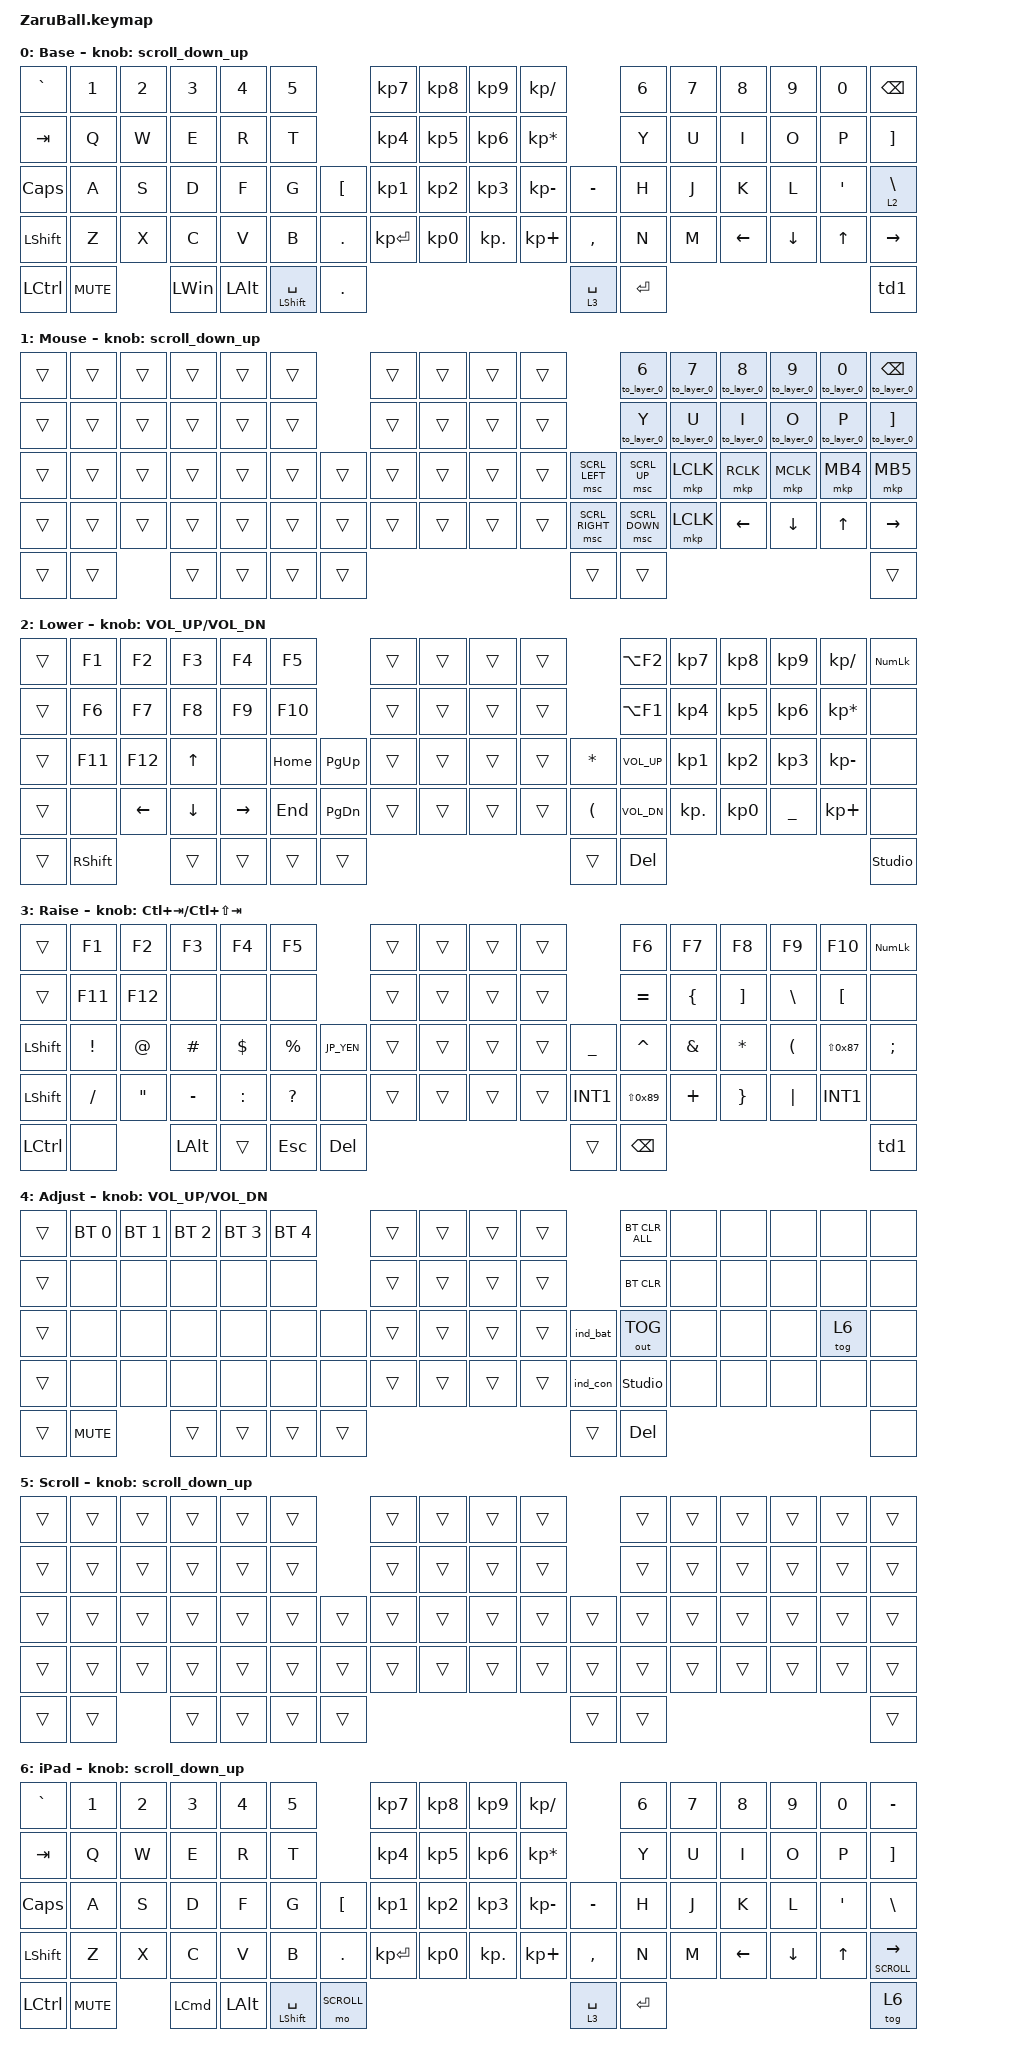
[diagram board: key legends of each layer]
//#include <dt-bindings/zmk/mouse.h>

#include <behaviors/rgbled_widget.dtsi>
#include <input/processors.dtsi>
#include <dt-bindings/zmk/input_transform.h>
#include <behaviors.dtsi>
#include <dt-bindings/zmk/bt.h>
#include <dt-bindings/zmk/keys.h>
#include <dt-bindings/zmk/outputs.h>
#include <dt-bindings/zmk/pointing.h>

#define BASE     0
#define MOUSE    1
#define LOWER    2
#define RAISE    3
#define ADJUST   4
#define SCROLL   5
#define IPAD     6

// OS設定を日本語キーボードのまま使用するための変換定義

#define JP_DQUOTE       AT                // "
#define JP_AMPERSAND    CARET             // &
#define JP_QUOTE        AMPERSAND         // '
#define JP_EQUAL        UNDER             // =
#define JP_CARET        EQUAL             // ^
#define JP_YEN          0x89              // ¥
#define JP_PLUS         COLON             // +
#define JP_TILDE        PLUS              // ~
#define JP_PIPE         LS(0x89)          // |
#define JP_AT           LEFT_BRACKET      // @
#define JP_COLON        SINGLE_QUOTE      // :
#define JP_ASTERISK     DOUBLE_QUOTES     // *
#define JP_BACKQUOTE    LEFT_BRACE        // `
#define JP_UNDERSCORE   LS(0x87)          // _
#define JP_LBRACKET     RIGHT_BRACKET     // [
#define JP_RBRACKET     BACKSLASH         // ]
#define JP_LPAREN       ASTERISK          // (
#define JP_RPAREN       LEFT_PARENTHESIS  // )
#define JP_LBRACE       RIGHT_BRACE       // {
#define JP_RBRACE       PIPE              // }
#define JP_KANA         LANGUAGE_1        // かな
#define JP_EISU         LANGUAGE_2        // 英数
#define JP_HANZEN       GRAVE             // 半角/全角

// スクロール量の設定
&zip_temp_layer {
    require-prior-idle-ms = <200>; // キー入力後200msはマウスへの切り替えを無効化
};

// #define ZMK_POINTING_DEFAULT_SCRL_VAL 100  // 既にpointing.hで定義済み
&trackball_listener {
    input-processors = <
                         &zip_xy_transform (INPUT_TRANSFORM_XY_SWAP | INPUT_TRANSFORM_Y_INVERT | INPUT_TRANSFORM_X_INVERT)
                         &zip_temp_layer MOUSE 500
    >;

    scroller {
        layers = <SCROLL>;
        input-processors = <
                            &zip_xy_transform (INPUT_TRANSFORM_XY_SWAP | INPUT_TRANSFORM_X_INVERT)
                            &zip_xy_scaler 1 20
                            &zip_xy_to_scroll_mapper
        >;
    };
};

/ {
    conditional_layers {
        compatible = "zmk,conditional-layers";

        tri_layer {
            if-layers = <2 3>;
            then-layer = <4>;
        };
    };
};

/ {
    behaviors {
        // スクロール用のbehaviorの設定

        scroll_down_up: behavior_sensor_rotate_mouse_wheel_down_up {
            compatible = "zmk,behavior-sensor-rotate";
            #sensor-binding-cells = <0>;
            // At 100 units/s, the 16ms mouse tick emits at least one wheel unit.
            // Default SCRL_DOWN/UP use 10 units/s: a 20ms tap is rounded to zero.
            bindings = <&msc MOVE_Y(-100)>, <&msc MOVE_Y(100)>;

            tap-ms = <20>; // スクロールのタップ時間
        };

        td0: tap_dance_0 {
            compatible = "zmk,behavior-tap-dance";
            #binding-cells = <0>;
            tapping-term-ms = <200>;
            bindings = <&mt LALT LANG2>, <&mo RAISE>, <&mo MOUSE>;
        };

        td1: tap_dance_1 {
            compatible = "zmk,behavior-tap-dance";
            #binding-cells = <0>;
            tapping-term-ms = <200>;
            bindings = <&mt RCTL LANG1>, <&mo RAISE>, <&mo MOUSE>;
        };

        // Customed Hold-Tap for SandS

        SandS: SandS {
            compatible = "zmk,behavior-hold-tap";
            #binding-cells = <2>;
            flavor = "tap-unless-interrupted";
            tapping-term-ms = <500>;
            quick-tap-ms = <500>;
            bindings = <&kp>, <&kp>;

            display-name = "SandS";
        };
    };
};

&sl { release-after-ms = <250>; }; // time needed for double click (for mkp_exit_AML)
/ {
    macros {
        // When in AML, move to default layer when key (except mouse button) pressed

        to_layer_0: to_layer_0 {
            compatible = "zmk,behavior-macro-one-param";
            #binding-cells = <1>;
            bindings = <&tog MOUSE &macro_param_1to1 &kp MACRO_PLACEHOLDER>;
            label = "TO_layer_0";
        };

        // When LCLK pressed, exit AML (after 250ms cause by sticky layer

        mkp_exit_AML: mkp_exit_AML {
            compatible = "zmk,behavior-macro-one-param";
            #binding-cells = <1>;
            bindings =
                <&macro_press>,
                <&macro_param_1to1 &mkp MACRO_PLACEHOLDER>,
                <&macro_pause_for_release>,
                <&macro_release>,
                <&macro_param_1to1 &mkp MACRO_PLACEHOLDER>,
                <&macro_tap>,
                <&sl MOUSE>;

            label = "MKP_EXIT_AML";
        };
    };
};

/ {
    combos {
        compatible = "zmk,combos";

        // S + D = Escape

        combo_esc {
            timeout-ms = <100>;
            key-positions = <34 35>;
            bindings = <&kp ESC>;
            layers = <0 6>;
        };

        // K + L = Backspace

        combo_bspc {
            timeout-ms = <100>;
            key-positions = <46 47>;
            bindings = <&kp BSPC>;
            layers = <0 1 6>;
        };

        // H + J = Enter

        combo_enter {
            timeout-ms = <100>;
            key-positions = <44 45>;
            bindings = <&kp ENTER>;
            layers = <0 6>;
        };

        // N + M = , (カンマ) 

        combo_comma {
            timeout-ms = <100>;
            key-positions = <62 63>;
            bindings = <&kp COMMA>;
            layers = <0 6>;
        };

        // M + LEFT_ARROW(Mの右) = . (ドット) 

        combo_dot {
            timeout-ms = <100>;
            key-positions = <63 64>;
            bindings = <&kp DOT>;
            layers = <0 6>;
        };
    };
};

/ {
    keymap {
        compatible = "zmk,keymap";

        base_layer {
            display-name = "Base";
            sensor-bindings = <&scroll_down_up>;
            bindings = <
&kp JP_HANZEN  &kp N1      &kp N2  &kp N3    &kp N4        &kp N5                           &kp KP_N7     &kp KP_N8  &kp KP_N9   &kp KP_DIVIDE                   &kp NUMBER_6  &kp N7  &kp N8          &kp N9          &kp N0        &kp BACKSPACE
&kp TAB        &kp Q       &kp W   &kp E     &kp R         &kp T                            &kp KP_N4     &kp KP_N5  &kp KP_N6   &kp KP_MULTIPLY                 &kp Y         &kp U   &kp I           &kp O           &kp P         &kp JP_LBRACKET
&kp CAPS       &kp A       &kp S   &kp D     &kp F         &kp G               &kp JP_AT    &kp KP_N1     &kp KP_N2  &kp KP_N3   &kp KP_MINUS       &kp MINUS    &kp H         &kp J   &kp K           &kp L           &kp JP_COLON  &lt 2 JP_RBRACKET
&kp LSHFT      &kp Z       &kp X   &kp C     &kp V         &kp B               &kp DOT      &kp KP_ENTER  &kp KP_N0  &kp KP_DOT  &kp KP_PLUS        &kp COMMA    &kp N         &kp M   &kp LEFT_ARROW  &kp DOWN_ARROW  &kp UP_ARROW  &kp RIGHT_ARROW
&kp LCTRL      &kp C_MUTE          &kp LWIN  &kp LEFT_ALT  &SandS LSHFT SPACE  &kp DOT                                                              &lt 3 SPACE  &kp ENTER                                                           &td1
            >;
        };

        mouse_layer {
            display-name = "Mouse";
            sensor-bindings = <&scroll_down_up>;
            bindings = <
&trans  &trans  &trans  &trans  &trans  &trans            &trans  &trans  &trans  &trans                     &to_layer_0 N6  &to_layer_0 N7  &to_layer_0 N8  &to_layer_0 N9  &to_layer_0 N0  &to_layer_0 BACKSPACE
&trans  &trans  &trans  &trans  &trans  &trans            &trans  &trans  &trans  &trans                     &to_layer_0 Y   &to_layer_0 U   &to_layer_0 I   &to_layer_0 O   &to_layer_0 P   &to_layer_0 JP_LBRACKET
&trans  &trans  &trans  &trans  &trans  &trans  &trans    &trans  &trans  &trans  &trans    &msc SCRL_LEFT   &msc SCRL_UP    &mkp LCLK       &mkp RCLK       &mkp MCLK       &mkp MB4        &mkp MB5
&trans  &trans  &trans  &trans  &trans  &trans  &trans    &trans  &trans  &trans  &trans    &msc SCRL_RIGHT  &msc SCRL_DOWN  &mkp LCLK       &kp LEFT_ARROW  &kp DOWN_ARROW  &kp UP_ARROW    &kp RIGHT_ARROW
&trans  &trans          &trans  &trans  &trans  &trans                                      &trans           &trans                                                                          &trans
            >;
        };

        lower_layer {
            display-name = "Lower";
            sensor-bindings = <&inc_dec_kp C_VOL_UP C_VOL_DN>;
            bindings = <
&trans  &kp F1     &kp F2    &kp F3    &kp F4     &kp F5                 &trans  &trans  &trans  &trans                   &kp LA(F2)    &kp KP_N7   &kp KP_N8  &kp KP_N9     &kp KP_SLASH     &kp KP_NUMLOCK
&trans  &kp F6     &kp F7    &kp F8    &kp F9     &kp F10                &trans  &trans  &trans  &trans                   &kp LA(F1)    &kp KP_N4   &kp KP_N5  &kp KP_N6     &kp KP_MULTIPLY  &none
&trans  &kp F11    &kp F12   &kp UP    &none      &kp HOME  &kp PG_UP    &trans  &trans  &trans  &trans    &kp JP_LPAREN  &kp C_VOL_UP  &kp KP_N1   &kp KP_N2  &kp KP_N3     &kp KP_MINUS     &none
&trans  &none      &kp LEFT  &kp DOWN  &kp RIGHT  &kp END   &kp PG_DN    &trans  &trans  &trans  &trans    &kp JP_RPAREN  &kp C_VOL_DN  &kp KP_DOT  &kp KP_N0  &kp JP_EQUAL  &kp KP_PLUS      &none
&trans  &kp RSHFT            &trans    &trans     &trans    &trans                                         &trans         &kp DEL                                                             &studio_unlock
            >;
        };

        raise_layer {
            display-name = "Raise";
            // Clockwise: next tab; counterclockwise: previous tab.
            sensor-bindings = <&inc_dec_kp LC(TAB) LC(LS(TAB))>;
            bindings = <
&trans          &kp F1     &kp F2           &kp F3        &kp F4       &kp F5                     &trans  &trans  &trans  &trans                  &kp F6            &kp F7            &kp F8           &kp F9           &kp F10            &kp KP_NUMLOCK
&trans          &kp F11    &kp F12          &none         &none        &none                      &trans  &trans  &trans  &trans                  &kp JP_CARET      &kp JP_BACKQUOTE  &kp JP_LBRACKET  &kp JP_RBRACKET  &kp JP_AT          &none
&kp LEFT_SHIFT  &kp EXCL   &kp JP_DQUOTE    &kp HASH      &kp DOLLAR   &kp PERCENT  &kp JP_YEN    &trans  &trans  &trans  &trans    &kp JP_EQUAL  &kp JP_AMPERSAND  &kp JP_QUOTE      &kp JP_LPAREN    &kp JP_RPAREN    &kp JP_UNDERSCORE  &kp SEMICOLON
&kp LEFT_SHIFT  &kp SLASH  &kp JP_ASTERISK  &kp MINUS     &kp JP_PLUS  &kp QMARK    &none         &trans  &trans  &trans  &trans    &kp INT1      &kp JP_PIPE       &kp JP_TILDE      &kp JP_LBRACE    &kp JP_RBRACE    &kp INT1           &none
&kp LCTRL       &none                       &kp LEFT_ALT  &trans       &kp ESC      &kp DELETE                                      &trans        &kp BACKSPACE                                                                            &td1
            >;
        };

        adjust_layer {
            display-name = "Adjust";
            sensor-bindings = <&inc_dec_kp C_VOL_UP C_VOL_DN>;
            bindings = <
&trans  &bt BT_SEL 0  &bt BT_SEL 1  &bt BT_SEL 2  &bt BT_SEL 3  &bt BT_SEL 4            &trans  &trans  &trans  &trans              &bt BT_CLR_ALL  &none  &none  &none  &none   &none
&trans  &none         &none         &none         &none         &none                   &trans  &trans  &trans  &trans              &bt BT_CLR      &none  &none  &none  &none   &none
&trans  &none         &none         &none         &none         &none         &none     &trans  &trans  &trans  &trans    &ind_bat  &out OUT_TOG    &none  &none  &none  &tog 6  &none
&trans  &none         &none         &none         &none         &none         &none     &trans  &trans  &trans  &trans    &ind_con  &studio_unlock  &none  &none  &none  &none   &none
&trans  &kp C_MUTE                  &trans        &trans        &trans        &trans                                      &trans    &kp DEL                                      &none
            >;
        };

        scroll_layer {
            display-name = "Scroll";
            sensor-bindings = <&scroll_down_up>;
            bindings = <
&trans  &trans  &trans  &trans  &trans  &trans            &trans  &trans  &trans  &trans            &trans  &trans  &trans  &trans  &trans  &trans
&trans  &trans  &trans  &trans  &trans  &trans            &trans  &trans  &trans  &trans            &trans  &trans  &trans  &trans  &trans  &trans
&trans  &trans  &trans  &trans  &trans  &trans  &trans    &trans  &trans  &trans  &trans    &trans  &trans  &trans  &trans  &trans  &trans  &trans
&trans  &trans  &trans  &trans  &trans  &trans  &trans    &trans  &trans  &trans  &trans    &trans  &trans  &trans  &trans  &trans  &trans  &trans
&trans  &trans          &trans  &trans  &trans  &trans                                      &trans  &trans                                  &trans
            >;
        };

        // keymapノード内に追加

        ipad_layer {
            display-name = "iPad";
            sensor-bindings = <&scroll_down_up>;
            bindings = <
&kp JP_HANZEN  &kp N1      &kp N2  &kp N3    &kp N4    &kp N5                            &kp KP_N7     &kp KP_N8  &kp KP_N9   &kp KP_DIVIDE                   &kp NUMBER_6  &kp N7  &kp N8          &kp N9          &kp N0        &kp MINUS
&kp TAB        &kp Q       &kp W   &kp E     &kp R     &kp T                             &kp KP_N4     &kp KP_N5  &kp KP_N6   &kp KP_MULTIPLY                 &kp Y         &kp U   &kp I           &kp O           &kp P         &kp JP_LBRACKET
&kp CAPS       &kp A       &kp S   &kp D     &kp F     &kp G               &kp JP_AT     &kp KP_N1     &kp KP_N2  &kp KP_N3   &kp KP_MINUS       &kp MINUS    &kp H         &kp J   &kp K           &kp L           &kp JP_COLON  &kp JP_RBRACKET
&kp LSHFT      &kp Z       &kp X   &kp C     &kp V     &kp B               &kp DOT       &kp KP_ENTER  &kp KP_N0  &kp KP_DOT  &kp KP_PLUS        &kp COMMA    &kp N         &kp M   &kp LEFT_ARROW  &kp DOWN_ARROW  &kp UP_ARROW  &lt SCROLL RIGHT_ARROW
&kp LCTRL      &kp C_MUTE          &kp LCMD  &kp LALT  &SandS LSHFT SPACE  &mo SCROLL                                                            &lt 3 SPACE  &kp ENTER                                                           &tog 6
            >;
        };

        // Extra layer can be added in ZMK STUDIO

        extra1 { status = "reserved"; };

        extra2 { status = "reserved"; };
    };
};
